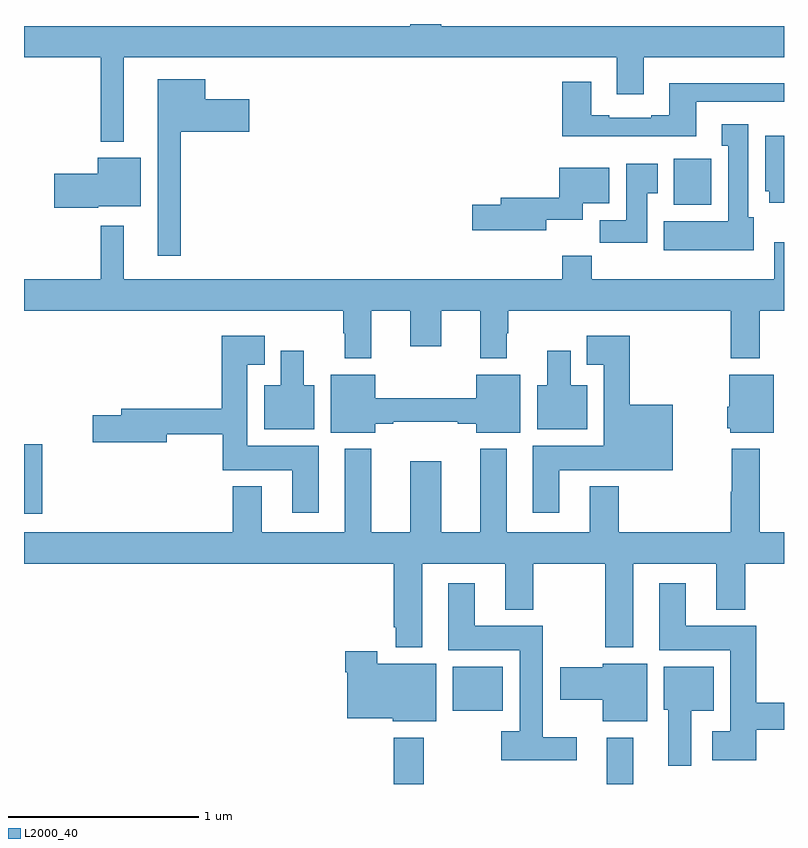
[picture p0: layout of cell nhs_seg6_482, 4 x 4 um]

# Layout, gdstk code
import gdstk
lib = gdstk.Library(unit=1e-6, precision=1e-09)
def R(c, l, rs):  # rectangles x0, y0, x1, y1
    for r in rs: c.add(gdstk.rectangle(r[:2], r[2:], *l))
def P(c, l, *ps):  # polygons
    for p in ps: c.add(gdstk.Polygon(p, *l))
L2000_40 = (2000, 40)

nhs_seg6_482 = lib.new_cell('nhs_seg6_482')
R(nhs_seg6_482, L2000_40, [(140.945,955.5,141.105,955.744), (142.067,955.5,142.207,955.744), (141.257,955.886,141.52,956.116), (139,956.922,139.097,957.289), (142.421,958.55,142.618,958.792)])
P(nhs_seg6_482, L2000_40, [(139.525,959.324),(142.121,959.324),(142.121,959.13),(142.261,959.13),(142.261,959.324),(143,959.324),(143,959.488),(141.196,959.488),(141.196,959.5),(141.032,959.5),(141.032,959.488),(139,959.488),(139,959.324),(139.404,959.324),(139.404,958.88),(139.525,958.88)],
  [(139.825,958.934),(140.185,958.934),(140.185,959.104),(139.954,959.104),(139.954,959.209),(139.703,959.209),(139.703,958.281),(139.825,958.281)],
  [(142.537,959.091),(143,959.091),(143,959.188),(142.397,959.188),(142.397,959.02),(142.301,959.02),(142.301,959.007),(142.081,959.007),(142.081,959.02),(141.985,959.02),(141.985,959.197),(141.833,959.197),(141.833,958.91),(142.537,958.91)],
  [(142.84,958.482),(142.813,958.482),(142.813,958.972),(142.673,958.972),(142.673,958.859),(142.706,958.859),(142.706,958.462),(142.367,958.462),(142.367,958.31),(142.84,958.31)],
  [(143,958.912),(142.901,958.912),(142.901,958.62),(142.922,958.62),(142.922,958.56),(143,958.56)],
  [(139.392,958.541),(139.615,958.541),(139.615,958.795),(139.388,958.795),(139.388,958.712),(139.158,958.712),(139.158,958.534),(139.392,958.534)],
  [(142.279,958.609),(142.336,958.609),(142.336,958.765),(142.169,958.765),(142.169,958.468),(142.03,958.468),(142.03,958.35),(142.279,958.35)],
  [(141.748,958.469),(141.94,958.469),(141.94,958.556),(142.081,958.556),(142.081,958.744),(141.818,958.744),(141.818,958.586),(141.509,958.586),(141.509,958.55),(141.36,958.55),(141.36,958.415),(141.748,958.415)],
  [(140.827,957.992),(141.032,957.992),(141.032,957.804),(141.196,957.804),(141.196,957.992),(141.401,957.992),(141.401,957.74),(141.541,957.74),(141.541,957.872),(141.549,957.872),(141.549,957.992),(142.721,957.992),(142.721,957.74),(142.873,957.74),(142.873,957.992),(143,957.992),(143,958.351),(142.949,958.351),(142.949,958.156),(141.989,958.156),(141.989,958.28),(141.833,958.28),(141.833,958.156),(139.525,958.156),(139.525,958.438),(139.404,958.438),(139.404,958.156),(139,958.156),(139,957.992),(140.68,957.992),(140.68,957.872),(140.687,957.872),(140.687,957.74),(140.827,957.74)],
  [(141.817,957.152),(142.414,957.152),(142.414,957.496),(142.187,957.496),(142.187,957.859),(141.962,957.859),(141.962,957.707),(142.052,957.707),(142.052,957.28),(141.677,957.28),(141.677,956.928),(141.817,956.928)],
  [(140.551,957.28),(140.176,957.28),(140.176,957.707),(140.266,957.707),(140.266,957.859),(140.042,957.859),(140.042,957.476),(139.511,957.476),(139.511,957.44),(139.362,957.44),(139.362,957.298),(139.75,957.298),(139.75,957.34),(140.047,957.34),(140.047,957.152),(140.411,957.152),(140.411,956.928),(140.551,956.928)],
  [(140.527,957.598),(140.473,957.598),(140.473,957.781),(140.351,957.781),(140.351,957.598),(140.264,957.598),(140.264,957.368),(140.527,957.368)],
  [(141.964,957.598),(141.877,957.598),(141.877,957.781),(141.755,957.781),(141.755,957.598),(141.701,957.598),(141.701,957.368),(141.964,957.368)],
  [(142.945,957.655),(142.712,957.655),(142.712,957.486),(142.7,957.486),(142.7,957.372),(142.716,957.372),(142.716,957.35),(142.945,957.35)],
  [(140.848,957.395),(140.944,957.395),(140.944,957.407),(141.284,957.407),(141.284,957.395),(141.38,957.395),(141.38,957.35),(141.613,957.35),(141.613,957.655),(141.38,957.655),(141.38,957.529),(140.848,957.529),(140.848,957.655),(140.615,957.655),(140.615,957.35),(140.848,957.35)],
  [(141.097,956.66),(141.533,956.66),(141.533,956.417),(141.681,956.417),(141.681,956.66),(142.06,956.66),(142.06,956.219),(142.207,956.219),(142.207,956.66),(142.643,956.66),(142.643,956.417),(142.796,956.417),(142.796,956.66),(143,956.66),(143,956.824),(142.873,956.824),(142.873,957.265),(142.726,957.265),(142.726,957.039),(142.721,957.039),(142.721,956.824),(142.13,956.824),(142.13,957.067),(141.977,957.067),(141.977,956.824),(141.541,956.824),(141.541,957.265),(141.401,957.265),(141.401,956.824),(141.196,956.824),(141.196,957.199),(141.032,957.199),(141.032,956.824),(140.827,956.824),(140.827,957.265),(140.687,957.265),(140.687,956.824),(140.251,956.824),(140.251,957.067),(140.099,957.067),(140.099,956.824),(139,956.824),(139,956.66),(140.945,956.66),(140.945,956.326),(140.957,956.326),(140.957,956.219),(141.097,956.219)],
  [(142.853,955.786),(143,955.786),(143,955.928),(142.853,955.928),(142.853,956.332),(142.483,956.332),(142.483,956.557),(142.343,956.557),(142.343,956.204),(142.718,956.204),(142.718,955.777),(142.623,955.777),(142.623,955.625),(142.853,955.625)],
  [(141.91,955.747),(141.73,955.747),(141.73,956.332),(141.373,956.332),(141.373,956.557),(141.233,956.557),(141.233,956.204),(141.608,956.204),(141.608,955.777),(141.513,955.777),(141.513,955.625),(141.91,955.625)],
  [(141.169,956.134),(140.86,956.134),(140.86,956.2),(140.69,956.2),(140.69,956.087),(140.702,956.087),(140.702,955.847),(140.94,955.847),(140.94,955.829),(141.169,955.829)],
  [(142.279,956.134),(142.046,956.134),(142.046,956.114),(141.822,956.114),(141.822,955.943),(142.046,955.943),(142.046,955.829),(142.279,955.829)],
  [(142.513,955.886),(142.63,955.886),(142.63,956.116),(142.367,956.116),(142.367,955.89),(142.391,955.89),(142.391,955.596),(142.513,955.596)])

lib.write_gds('nhs_seg6_482.gds')
